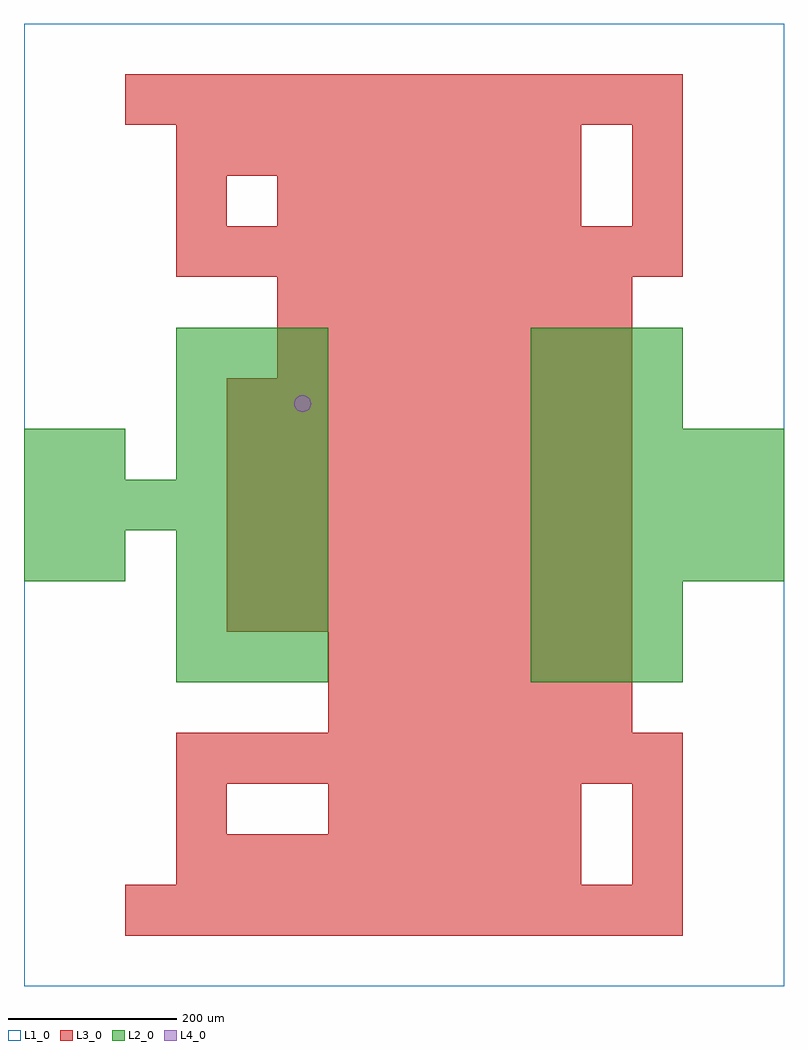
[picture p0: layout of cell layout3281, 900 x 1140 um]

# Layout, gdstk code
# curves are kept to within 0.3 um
import gdstk
lib = gdstk.Library(unit=1e-6, precision=1e-09)
def R(c, l, rs):  # rectangles x0, y0, x1, y1
    for r in rs: c.add(gdstk.rectangle(r[:2], r[2:], *l))
def A(c, l, x, y, w, h, nx, ny, dx, dy):  # array of equal rectangles
    R(c, l, [(x+i*dx, y+j*dy, x+i*dx+w, y+j*dy+h) for i in range(nx) for j in range(ny)])
def P(c, l, *ps):  # polygons
    for p in ps: c.add(gdstk.Polygon(p, *l))
L1_0 = (1, 0)
L2_0 = (2, 0)
L3_0 = (3, 0)
L4_0 = (4, 0)

layout3281 = lib.new_cell('layout3281')
R(layout3281, L1_0, [(0,0,900,1140)])
A(layout3281, L2_0, 180, 360, 60, 60, 3, 3, 60, 60)
A(layout3281, L2_0, 600, 360, 60, 60, 3, 2, 60, 60)
A(layout3281, L2_0, 600, 480, 60, 60, 5, 3, 60, 60)
A(layout3281, L2_0, 0, 540, 60, 60, 6, 1, 60, 0)
A(layout3281, L2_0, 180, 600, 60, 60, 3, 3, 60, 60)
A(layout3281, L2_0, 600, 660, 60, 60, 3, 2, 60, 60)
R(layout3281, L2_0, [(0,480,60,540), (60,480,120,540), (0,600,60,660), (60,600,120,660)])
A(layout3281, L3_0, 120, 60, 60, 60, 11, 2, 60, 960)
A(layout3281, L3_0, 180, 120, 60, 60, 8, 2, 60, 840)
A(layout3281, L3_0, 360, 180, 60, 60, 5, 1, 60, 0)
A(layout3281, L3_0, 180, 240, 60, 60, 10, 2, 60, 600)
A(layout3281, L3_0, 360, 300, 60, 60, 6, 2, 60, 60)
A(layout3281, L3_0, 240, 420, 60, 60, 8, 5, 60, 60)
A(layout3281, L3_0, 300, 720, 60, 60, 7, 2, 60, 60)
A(layout3281, L3_0, 300, 900, 60, 60, 6, 1, 60, 0)
R(layout3281, L3_0, [(720,120,780,180), (180,180,240,240), (720,180,780,240), (180,900,240,960), (720,900,780,960), (720,960,780,1020)])
P(layout3281, L4_0, [(340,690),(339.239,693.827),(337.071,697.071),(333.827,699.239),(330,700),(326.173,699.239),(322.929,697.071),(320.761,693.827),(320,690),(320.761,686.173),(322.929,682.929),(326.173,680.761),(330,680),(333.827,680.761),(337.071,682.929),(339.239,686.173)])

lib.write_gds('layout3281.gds')
